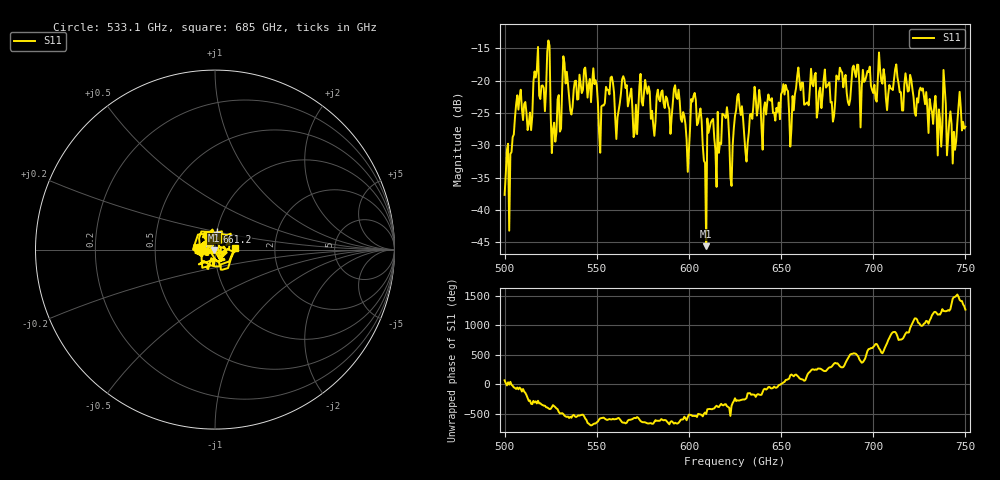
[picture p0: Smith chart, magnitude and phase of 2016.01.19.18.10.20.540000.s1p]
!Created with skrf (http://scikit-rf.org).
# GHz S RI R 50.0
!freq ReS11 ImS11
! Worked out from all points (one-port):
!   401 points, 500 GHz to 750 GHz, reference 50 ohm
!   lowest |S11| = -45.6 dB at 609.4 GHz (marker M1), VSWR 1.01, Z = 49.6 - j0.301 ohm
!   |S11| at or under -10 dB: start of sweep to end of sweep
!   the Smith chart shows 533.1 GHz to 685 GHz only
!   S11 on the Smith chart (normalised r, x): 533.1 GHz: 0.83, +0.02; 661.2 GHz: 1.00, +0.19; 685 GHz: 1.25, +0.03
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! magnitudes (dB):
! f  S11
! 500 GHz  -37.7
! 507.5 GHz  -24.5
! 513.8 GHz  -24.9
! 516.9 GHz  -19.5
! 523.8 GHz  -13.8
! 526.9 GHz  -26.5
! 531.2 GHz  -21.0
! 533.1 GHz  -20.4
! 536.2 GHz  -25.2
! 548.8 GHz  -20.5
! 551.9 GHz  -31.2
! 562.5 GHz  -23.5
! 593.8 GHz  -22.8
! 599.4 GHz  -34.1
! 602.5 GHz  -22.4
! 609.4 GHz  -45.6
! 611.2 GHz  -27.2
! 615.6 GHz  -24.8
! 620 GHz  -25.8
! 623.1 GHz  -36.3
! 625 GHz  -25.4
! 652.5 GHz  -20.6
! 656.2 GHz  -22.4
! 661.2 GHz  -20.3
! 685 GHz  -19.1
! 687.5 GHz  -22.9
! 718.8 GHz  -21.7
! 750 GHz  -27.1
